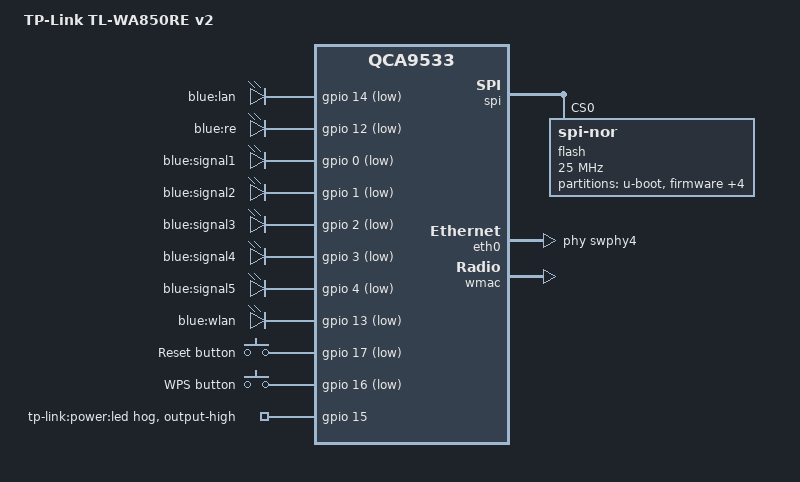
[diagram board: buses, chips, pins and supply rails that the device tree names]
// SPDX-License-Identifier: GPL-2.0-or-later OR MIT

#include "qca953x.dtsi"

#include <dt-bindings/gpio/gpio.h>
#include <dt-bindings/input/input.h>

/ {
	compatible = "tplink,tl-wa850re-v2", "qca,qca9533";
	model = "TP-Link TL-WA850RE v2";

	aliases {
		led-boot = &led_re;
		led-failsafe = &led_re;
		led-running = &led_re;
		led-upgrade = &led_re;
		label-mac-device = &wmac;
	};

	leds {
		compatible = "gpio-leds";

		pinctrl-names = "default";
		pinctrl-0 = <&jtag_disable_pins>;

		lan {
			label = "blue:lan";
			gpios = <&gpio 14 GPIO_ACTIVE_LOW>;
		};

		led_re: re {
			label = "blue:re";
			gpios = <&gpio 12 GPIO_ACTIVE_LOW>;
		};

		signal1 {
			label = "blue:signal1";
			gpios = <&gpio 0 GPIO_ACTIVE_LOW>;
		};

		signal2 {
			label = "blue:signal2";
			gpios = <&gpio 1 GPIO_ACTIVE_LOW>;
		};

		signal3 {
			label = "blue:signal3";
			gpios = <&gpio 2 GPIO_ACTIVE_LOW>;
		};

		signal4 {
			label = "blue:signal4";
			gpios = <&gpio 3 GPIO_ACTIVE_LOW>;
		};

		led_signal5: signal5 {
			label = "blue:signal5";
			gpios = <&gpio 4 GPIO_ACTIVE_LOW>;
		};

		wlan {
			label = "blue:wlan";
			gpios = <&gpio 13 GPIO_ACTIVE_LOW>;
			linux,default-trigger = "phy0tpt";
		};
	};

	keys {
		compatible = "gpio-keys";

		reset {
			label = "Reset button";
			linux,code = <KEY_RESTART>;
			gpios = <&gpio 17 GPIO_ACTIVE_LOW>;
		};

		wps {
			label = "WPS button";
			linux,code = <KEY_RFKILL>;
			gpios = <&gpio 16 GPIO_ACTIVE_LOW>;
		};
	};
};

&gpio {
	led_enable {
		gpio-hog;
		gpios = <15 GPIO_ACTIVE_HIGH>;
		line-name = "tp-link:power:led";
		output-high;
	};
};

&spi {
	status = "okay";

	flash@0 {
		#address-cells = <1>;
		#size-cells = <1>;
		compatible = "jedec,spi-nor";
		reg = <0>;
		spi-max-frequency = <25000000>;

		partitions {
			compatible = "fixed-partitions";
			#address-cells = <1>;
			#size-cells = <1>;

			partition@0 {
				label = "u-boot";
				reg = <0x000000 0x020000>;
				read-only;
			};

			partition@20000 {
				label = "firmware";
				reg = <0x020000 0x390000>;
				compatible = "tplink,firmware";
			};

			partition@3b0000 {
				label = "partition-table";
				reg = <0x3b0000 0x010000>;
				read-only;
			};

			info: partition@3c0000 {
				label = "info";
				reg = <0x3c0000 0x010000>;
				read-only;
			};

			partition@3d0000 {
				label = "config";
				reg = <0x3d0000 0x020000>;
				read-only;
			};

			art: partition@3f0000 {
				label = "art";
				reg = <0x3f0000 0x010000>;
				read-only;
			};
		};
	};
};

&eth0 {
	status = "okay";

	phy-handle = <&swphy4>;

	mtd-mac-address = <&info 0x8>;
};

&eth1 {
	compatible = "syscon", "simple-mfd";
};

&wmac {
	status = "okay";

	mtd-cal-data = <&art 0x1000>;
	mtd-mac-address = <&info 0x8>;
};
